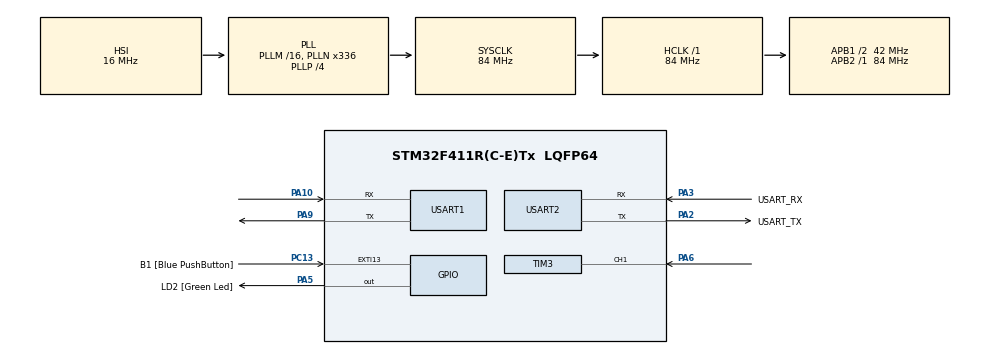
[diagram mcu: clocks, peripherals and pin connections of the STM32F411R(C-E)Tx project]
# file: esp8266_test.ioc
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Mcu.Family=STM32F4
Mcu.Name=STM32F411R(C-E)Tx
Mcu.Package=LQFP64
NVIC.PriorityGroup=NVIC_PRIORITYGROUP_0
NVIC.TIM3_IRQn=true\:0\:0\:false\:false\:true\:true\:true\:true
NVIC.USART1_IRQn=true\:0\:0\:false\:false\:true\:true\:true\:true
PA10.Mode=Asynchronous
PA10.Signal=USART1_RX
PA13.GPIO_Label=TMS
PA13.Mode=Serial_Wire
PA13.Signal=SYS_JTMS-SWDIO
PA14.GPIO_Label=TCK
PA14.Mode=Serial_Wire
PA14.Signal=SYS_JTCK-SWCLK
PA2.GPIO_Label=USART_TX
PA2.Mode=Asynchronous
PA2.Signal=USART2_TX
PA3.GPIO_Label=USART_RX
PA3.Mode=Asynchronous
PA3.Signal=USART2_RX
PA5.GPIO_Label=LD2 [Green Led]
PA5.Signal=GPIO_Output
PA6.Signal=S_TIM3_CH1
PA9.Mode=Asynchronous
PA9.Signal=USART1_TX
PB3.GPIO_Label=SWO
PB3.Signal=SYS_JTDO-SWO
PC13-ANTI_TAMP.GPIO_Label=B1 [Blue PushButton]
PC13-ANTI_TAMP.GPIO_ModeDefaultEXTI=GPIO_MODE_IT_FALLING
PC13-ANTI_TAMP.Signal=GPXTI13
PC14-OSC32_IN.Mode=LSE-External-Oscillator
PC14-OSC32_IN.Signal=RCC_OSC32_IN
PC15-OSC32_OUT.Mode=LSE-External-Oscillator
PC15-OSC32_OUT.Signal=RCC_OSC32_OUT
PH0\ -\ OSC_IN.Mode=HSE-External-Clock-Source
PH0\ -\ OSC_IN.Signal=RCC_OSC_IN
PH1\ -\ OSC_OUT.Mode=HSE-External-Clock-Source
PH1\ -\ OSC_OUT.Signal=RCC_OSC_OUT
ProjectManager.HeapSize=0x200
ProjectManager.StackSize=0x400
ProjectManager.TargetToolchain=STM32CubeIDE
RCC.48MHZClocksFreq_Value=84000000
RCC.AHBFreq_Value=84000000
RCC.APB1CLKDivider=RCC_HCLK_DIV2
RCC.APB1Freq_Value=42000000
RCC.APB1TimFreq_Value=84000000
RCC.APB2Freq_Value=84000000
RCC.APB2TimFreq_Value=84000000
RCC.CortexFreq_Value=84000000
RCC.FLatency-AdvancedSettings=FLASH_LATENCY_2
RCC.HCLKFreq_Value=84000000
RCC.HSE_VALUE=8000000
RCC.HSI_VALUE=16000000
RCC.PLLN=336
RCC.PLLP=RCC_PLLP_DIV4
RCC.SYSCLKFreq_VALUE=84000000
RCC.SYSCLKSource=RCC_SYSCLKSOURCE_PLLCLK
RCC.VCOOutputFreq_Value=336000000
SH.S_TIM3_CH1.0=TIM3_CH1,Input_Capture1_from_TI1
TIM3.Channel-Input_Capture1_from_TI1=TIM_CHANNEL_1
TIM3.Period=1000 - 1
TIM3.Prescaler=84-1
USART1.VirtualMode=VM_ASYNC
USART2.VirtualMode=VM_ASYNC
board=NUCLEO-F411RE

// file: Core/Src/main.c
/* USER CODE BEGIN Header */
/**
  ******************************************************************************
  * @file           : main.c
  * @brief          : Main program body
  ******************************************************************************
  * @attention
  *
  * Copyright (c) 2024 STMicroelectronics.
  * All rights reserved.
  *
  * This software is licensed under terms that can be found in the LICENSE file
  * in the root directory of this software component.
  * If no LICENSE file comes with this software, it is provided AS-IS.
  *
  ******************************************************************************
  */
/* USER CODE END Header */
#include "main.h"

/* USER CODE BEGIN Includes */
#include <stdio.h>
#include <string.h>
#include "esp.h"
/* USER CODE END Includes */

/* USER CODE BEGIN PD */
#ifdef __GNUC__
#define PUTCHAR_PROTOTYPE int __io_putchar(int ch)
#else
#define PUTCHAR_PROTOTYPE int fputc(int ch, FILE *f)
#endif /* __GNUC__ */
#define ARR_CNT 5
#define CMD_SIZE 50
/* USER CODE END PD */

TIM_HandleTypeDef htim3;

UART_HandleTypeDef huart1;   // ESP8266 AT (USART1)
UART_HandleTypeDef huart2;   // Debug/printf (USART2)

/* USER CODE BEGIN PV */
uint8_t rx2char;
extern cb_data_t cb_data;
extern volatile unsigned char rx2Flag;
extern volatile char rx2Data[50];
volatile int tim3Flag1Sec=1;
volatile unsigned int tim3Sec;
char strBuff[MAX_ESP_COMMAND_LEN];
/* USER CODE END PV */

void SystemClock_Config(void);
static void MX_GPIO_Init(void);
static void MX_USART2_UART_Init(void);
static void MX_USART1_UART_Init(void);
static void MX_TIM3_Init(void);
/* USER CODE BEGIN PFP */
void MX_GPIO_LED_ON(int flag);
void MX_GPIO_LED_OFF(int flag);
void esp_event(char *);
/* USER CODE END PFP */

int main(void)
{
  /* USER CODE BEGIN 1 */
  int ret = 0;
  /* USER CODE END 1 */

  /* MCU Configuration--------------------------------------------------------*/
  HAL_Init();

  /* Configure the system clock */
  SystemClock_Config();

  /* Initialize all configured peripherals */
  MX_GPIO_Init();
  MX_USART2_UART_Init();   // 디버그 콘솔
  MX_USART1_UART_Init();   // ESP8266 AT
  MX_TIM3_Init();

  /* USER CODE BEGIN 2 */
  printf("Start main()! - wifi!\r\n");

  ret |= drv_uart_init();   // USART2 수신 IT 시작 (printf 리다이렉트용)
  ret |= drv_esp_init();    // USART1 수신 IT 시작 + AT+RST

  if (ret != 0) {
    printf("Esp response error\r\n");
    Error_Handler();
  }

  AiotClient_Init();

  if (HAL_TIM_Base_Start_IT(&htim3) != HAL_OK) {
    Error_Handler();
  }
  /* USER CODE END 2 */

  /* Infinite loop */
  /* USER CODE BEGIN WHILE */
  while (1)
  {
    if (strstr((char *)cb_data.buf, "+IPD") && cb_data.buf[cb_data.length-1] == '\n')
    {
      // 예: \r\n+IPD,15:[KSH_LIN]HELLO\n
      strcpy(strBuff, strchr((char *)cb_data.buf, '['));
      memset(cb_data.buf, 0x0, sizeof(cb_data.buf));
      cb_data.length = 0;
      esp_event(strBuff);
    }

    if (rx2Flag)
    {
      printf("recv2 : %s\r\n", rx2Data);
      rx2Flag = 0;
    }

    if (tim3Flag1Sec)  // 1초에 한 번
    {
      tim3Flag1Sec = 0;
      if (!(tim3Sec % 10)) // 10초에 한 번
      {
        if (esp_get_status() != 0)
        {
          printf("server connecting ...\r\n");
          esp_client_conn();
        }
      }
      // printf("tim3Sec : %d\r\n", tim3Sec);
    }
    /* USER CODE END WHILE */

  }
}

void SystemClock_Config(void)
{
  RCC_OscInitTypeDef RCC_OscInitStruct = {0};
  RCC_ClkInitTypeDef RCC_ClkInitStruct = {0};

  /** Configure the main internal regulator output voltage */
  __HAL_RCC_PWR_CLK_ENABLE();
  __HAL_PWR_VOLTAGESCALING_CONFIG(PWR_REGULATOR_VOLTAGE_SCALE1);

  /** Initializes the RCC Oscillators */
  RCC_OscInitStruct.OscillatorType = RCC_OSCILLATORTYPE_HSI;
  RCC_OscInitStruct.HSIState = RCC_HSI_ON;
  RCC_OscInitStruct.HSICalibrationValue = RCC_HSICALIBRATION_DEFAULT;
  RCC_OscInitStruct.PLL.PLLState = RCC_PLL_ON;
  RCC_OscInitStruct.PLL.PLLSource = RCC_PLLSOURCE_HSI;
  RCC_OscInitStruct.PLL.PLLM = 16;
  RCC_OscInitStruct.PLL.PLLN = 336;
  RCC_OscInitStruct.PLL.PLLP = RCC_PLLP_DIV4;
  RCC_OscInitStruct.PLL.PLLQ = 4;
  if (HAL_RCC_OscConfig(&RCC_OscInitStruct) != HAL_OK)
  {
    Error_Handler();
  }

  /** Initializes the CPU, AHB and APB buses clocks */
  RCC_ClkInitStruct.ClockType = RCC_CLOCKTYPE_HCLK|RCC_CLOCKTYPE_SYSCLK
                              |RCC_CLOCKTYPE_PCLK1|RCC_CLOCKTYPE_PCLK2;
  RCC_ClkInitStruct.SYSCLKSource = RCC_SYSCLKSOURCE_PLLCLK;
  RCC_ClkInitStruct.AHBCLKDivider = RCC_SYSCLK_DIV1;
  RCC_ClkInitStruct.APB1CLKDivider = RCC_HCLK_DIV2;
  RCC_ClkInitStruct.APB2CLKDivider = RCC_HCLK_DIV1;

  if (HAL_RCC_ClockConfig(&RCC_ClkInitStruct, FLASH_LATENCY_2) != HAL_OK)
  {
    Error_Handler();
  }
}

static void MX_TIM3_Init(void)
{
  TIM_ClockConfigTypeDef sClockSourceConfig = {0};
  TIM_MasterConfigTypeDef sMasterConfig = {0};

  htim3.Instance = TIM3;
  htim3.Init.Prescaler = 84 - 1;                        // 84MHz / 84 = 1MHz → 1us
  htim3.Init.CounterMode = TIM_COUNTERMODE_UP;
  htim3.Init.Period = 1000 - 1;                         // 1000us = 1ms
  htim3.Init.ClockDivision = TIM_CLOCKDIVISION_DIV1;
  htim3.Init.AutoReloadPreload = TIM_AUTORELOAD_PRELOAD_ENABLE;
  if (HAL_TIM_Base_Init(&htim3) != HAL_OK)
  {
    Error_Handler();
  }

  sClockSourceConfig.ClockSource = TIM_CLOCKSOURCE_INTERNAL;
  if (HAL_TIM_ConfigClockSource(&htim3, &sClockSourceConfig) != HAL_OK)
  {
    Error_Handler();
  }

  sMasterConfig.MasterOutputTrigger = TIM_TRGO_RESET;
  sMasterConfig.MasterSlaveMode = TIM_MASTERSLAVEMODE_DISABLE;
  if (HAL_TIMEx_MasterConfigSynchronization(&htim3, &sMasterConfig) != HAL_OK)
  {
    Error_Handler();
  }

  /* NVIC for TIM3 */
  HAL_NVIC_SetPriority(TIM3_IRQn, 5, 0);
  HAL_NVIC_EnableIRQ(TIM3_IRQn);
}

static void MX_USART1_UART_Init(void)
{
  huart1.Instance = USART1;
  huart1.Init.BaudRate = 115200;               // ESP 보레이트에 맞게(필요시 38400/9600 등)
  huart1.Init.WordLength = UART_WORDLENGTH_8B;
  huart1.Init.StopBits = UART_STOPBITS_1;
  huart1.Init.Parity = UART_PARITY_NONE;
  huart1.Init.Mode = UART_MODE_TX_RX;
  huart1.Init.HwFlowCtl = UART_HWCONTROL_NONE;
  huart1.Init.OverSampling = UART_OVERSAMPLING_16;
  if (HAL_UART_Init(&huart1) != HAL_OK)
  {
    Error_Handler();
  }

  /* NVIC for USART1 (수신 인터럽트 사용) */
  HAL_NVIC_SetPriority(USART1_IRQn, 5, 0);
  HAL_NVIC_EnableIRQ(USART1_IRQn);
}

static void MX_USART2_UART_Init(void)
{
  huart2.Instance = USART2;
  huart2.Init.BaudRate = 115200;
  huart2.Init.WordLength = UART_WORDLENGTH_8B;
  huart2.Init.StopBits = UART_STOPBITS_1;
  huart2.Init.Parity = UART_PARITY_NONE;
  huart2.Init.Mode = UART_MODE_TX_RX;
  huart2.Init.HwFlowCtl = UART_HWCONTROL_NONE;
  huart2.Init.OverSampling = UART_OVERSAMPLING_16;
  if (HAL_UART_Init(&huart2) != HAL_OK)
  {
    Error_Handler();
  }
}

static void MX_GPIO_Init(void)
{
  GPIO_InitTypeDef GPIO_InitStruct = {0};

  /* GPIO Ports Clock Enable */
  __HAL_RCC_GPIOC_CLK_ENABLE();
  __HAL_RCC_GPIOH_CLK_ENABLE();
  __HAL_RCC_GPIOA_CLK_ENABLE();
  __HAL_RCC_GPIOB_CLK_ENABLE();

  /*Configure GPIO pin Output Level */
  HAL_GPIO_WritePin(LD2_GPIO_Port, LD2_Pin, GPIO_PIN_RESET);

  /*Configure GPIO pin : B1_Pin */
  GPIO_InitStruct.Pin = B1_Pin;
  GPIO_InitStruct.Mode = GPIO_MODE_IT_FALLING;
  GPIO_InitStruct.Pull = GPIO_NOPULL;
  HAL_GPIO_Init(B1_GPIO_Port, &GPIO_InitStruct);

  /*Configure GPIO pin : LD2_Pin */
  GPIO_InitStruct.Pin = LD2_Pin;
  GPIO_InitStruct.Mode = GPIO_MODE_OUTPUT_PP;
  GPIO_InitStruct.Pull = GPIO_NOPULL;
  GPIO_InitStruct.Speed = GPIO_SPEED_FREQ_LOW;
  HAL_GPIO_Init(LD2_GPIO_Port, &GPIO_InitStruct);
}

/* USER CODE BEGIN 4 */
void MX_GPIO_LED_ON(int pin)
{
  HAL_GPIO_WritePin(LD2_GPIO_Port, pin, GPIO_PIN_SET);
}
void MX_GPIO_LED_OFF(int pin)
{
  HAL_GPIO_WritePin(LD2_GPIO_Port, pin, GPIO_PIN_RESET);
}
void esp_event(char * recvBuf)
{
  int i=0;
  char * pToken;
  char * pArray[ARR_CNT]={0};
  char sendBuf[MAX_UART_COMMAND_LEN]={0};

  strBuff[strlen(recvBuf)-1] = '\0';  // '\n' cut
  printf("\r\nDebug recv : %s\r\n", recvBuf);

  pToken = strtok(recvBuf,"[@]");
  while(pToken != NULL)
  {
    pArray[i] = pToken;
    if(++i >= ARR_CNT) break;
    pToken = strtok(NULL,"[@]");
  }

  if(!strcmp(pArray[1],"LED"))
  {
    if(!strcmp(pArray[2],"ON"))       { MX_GPIO_LED_ON(LD2_Pin); }
    else if(!strcmp(pArray[2],"OFF")) { MX_GPIO_LED_OFF(LD2_Pin); }
    sprintf(sendBuf,"[%s]%s@%s\n",pArray[0],pArray[1],pArray[2]);
  }
  else if(!strncmp(pArray[1]," New conn",8))
  {
    return;
  }
  else if(!strncmp(pArray[1]," Already log",8))
  {
    esp_client_conn();
    return;
  }
  else
  {
    return;
  }

  esp_send_data(sendBuf);
  printf("Debug send : %s\r\n", sendBuf);
}

void HAL_TIM_PeriodElapsedCallback(TIM_HandleTypeDef *htim) // 1ms 마다 호출
{
  if (htim->Instance != TIM3) return;

  static int tim3Cnt = 0;
  tim3Cnt++;
  if (tim3Cnt >= 1000) // 1ms * 1000 = 1Sec
  {
    tim3Flag1Sec = 1;
    tim3Sec++;
    tim3Cnt = 0;
  }
}
/* USER CODE END 4 */

void Error_Handler(void)
{
  __disable_irq();
  while (1) { }
}
